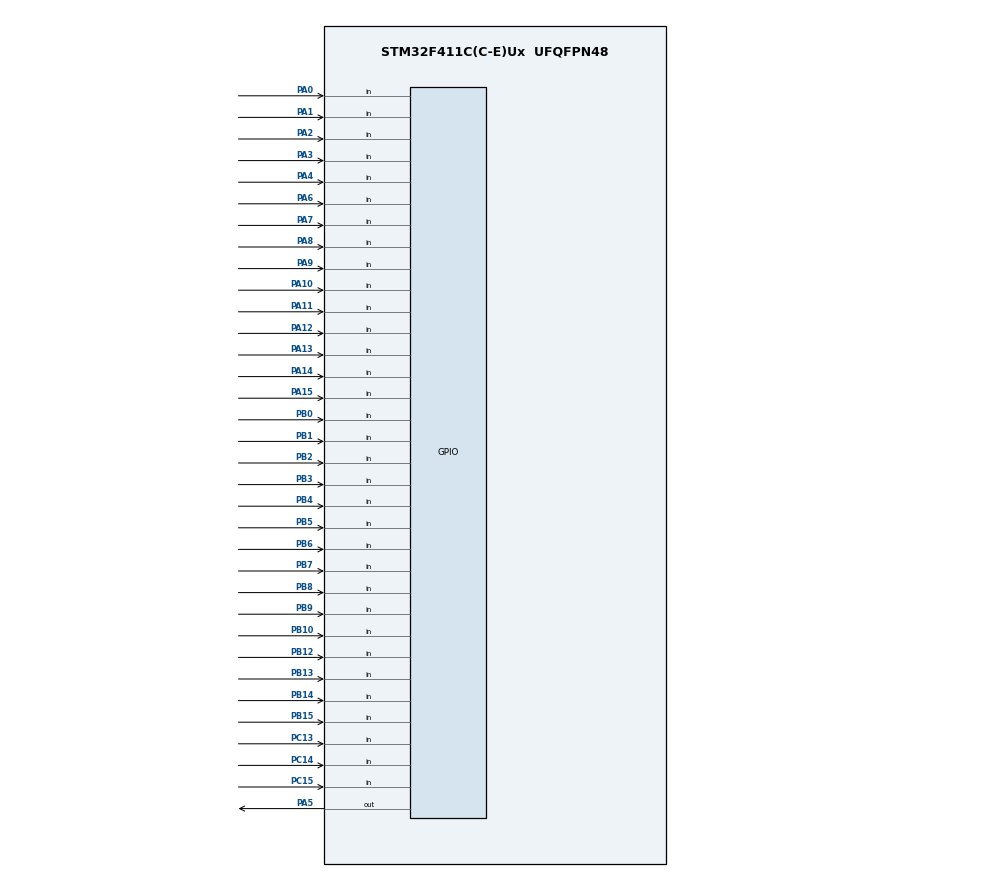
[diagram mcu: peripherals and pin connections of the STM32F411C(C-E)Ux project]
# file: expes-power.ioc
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Mcu.Family=STM32F4
Mcu.Name=STM32F411C(C-E)Ux
Mcu.Package=UFQFPN48
NVIC.PriorityGroup=NVIC_PRIORITYGROUP_4
PA0-WKUP.Signal=GPIO_Input
PA1.Signal=GPIO_Input
PA10.Signal=GPIO_Input
PA11.Signal=GPIO_Input
PA12.Signal=GPIO_Input
PA13.Signal=GPIO_Input
PA14.Signal=GPIO_Input
PA15.Signal=GPIO_Input
PA2.Signal=GPIO_Input
PA3.Signal=GPIO_Input
PA4.Signal=GPIO_Input
PA5.Signal=GPIO_Output
PA6.Signal=GPIO_Input
PA7.Signal=GPIO_Input
PA8.Signal=GPIO_Input
PA9.Signal=GPIO_Input
PB0.Signal=GPIO_Input
PB1.Signal=GPIO_Input
PB10.Signal=GPIO_Input
PB12.Signal=GPIO_Input
PB13.Signal=GPIO_Input
PB14.Signal=GPIO_Input
PB15.Signal=GPIO_Input
PB2.Signal=GPIO_Input
PB3.Signal=GPIO_Input
PB4.Signal=GPIO_Input
PB5.Signal=GPIO_Input
PB6.Signal=GPIO_Input
PB7.Signal=GPIO_Input
PB8.Signal=GPIO_Input
PB9.Signal=GPIO_Input
PC13-ANTI_TAMP.Signal=GPIO_Input
PC14-OSC32_IN.Signal=GPIO_Input
PC15-OSC32_OUT.Signal=GPIO_Input
PH0\ -\ OSC_IN.Mode=HSE-External-Oscillator
PH0\ -\ OSC_IN.Signal=RCC_OSC_IN
PH1\ -\ OSC_OUT.Mode=HSE-External-Oscillator
PH1\ -\ OSC_OUT.Signal=RCC_OSC_OUT
ProjectManager.HeapSize=0x200
ProjectManager.StackSize=0x400
ProjectManager.TargetToolchain=STM32CubeIDE
RCC.48MHZClocksFreq_Value=32000000
RCC.AHBCLKDivider=RCC_SYSCLK_DIV64
RCC.AHBFreq_Value=1000000
RCC.APB1CLKDivider=RCC_HCLK_DIV2
RCC.APB1Freq_Value=500000
RCC.APB1TimFreq_Value=1000000
RCC.APB2Freq_Value=1000000
RCC.APB2TimFreq_Value=1000000
RCC.CortexFreq_Value=1000000
RCC.HCLKFreq_Value=1000000
RCC.HSE_VALUE=25000000
RCC.HSI_VALUE=16000000
RCC.LSE_VALUE=32768
RCC.PLLM=8
RCC.PLLN=64
RCC.SYSCLKFreq_VALUE=64000000
RCC.SYSCLKSource=RCC_SYSCLKSOURCE_PLLCLK
RCC.VCOOutputFreq_Value=128000000
board=custom

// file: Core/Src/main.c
/* USER CODE BEGIN Header */
/**
  ******************************************************************************
  * @file           : main.c
  * @brief          : Main program body
  ******************************************************************************
  * @attention
  *
  * Copyright (c) 2026 STMicroelectronics.
  * All rights reserved.
  *
  * This software is licensed under terms that can be found in the LICENSE file
  * in the root directory of this software component.
  * If no LICENSE file comes with this software, it is provided AS-IS.
  *
  ******************************************************************************
  */
/* USER CODE END Header */
#include "main.h"
#include "stm32f4xx_hal.h"

/* USER CODE BEGIN Includes */
#include <stdint.h>
#include <stdlib.h>
#include <stdio.h>

// Benchmark sizes
#define BENCH_PRIME_SIZE 5000
#define BENCH_MAT_SIZE 10500
#define NB_ITERATIONS_MAT_MUL 10

// Benchmark correct results
#define CORRECT_PRIME 669
#define CORRECT_MAT_MUL 1073741824
#define CORRECT_MAT_MUL_FLOAT_UPPER 0.525
#define CORRECT_MAT_MUL_FLOAT_LOWER 0.524

/* USER CODE END Includes */

void SystemClock_Config(void);
static void MX_GPIO_Init_pull_downs(void);

/* USER CODE BEGIN 0 */
void SystemClock_Config_HSI_16MHz(void)
{
  RCC_OscInitTypeDef RCC_OscInitStruct = {0};
  RCC_ClkInitTypeDef RCC_ClkInitStruct = {0};

  /** Configure the main internal regulator output voltage
  */
  __HAL_RCC_PWR_CLK_ENABLE();
  RCC_ClkInitStruct.ClockType = RCC_CLOCKTYPE_HCLK|RCC_CLOCKTYPE_SYSCLK
                              |RCC_CLOCKTYPE_PCLK1|RCC_CLOCKTYPE_PCLK2;
  RCC_ClkInitStruct.SYSCLKSource = RCC_SYSCLKSOURCE_HSI;
  if (HAL_RCC_ClockConfig(&RCC_ClkInitStruct, FLASH_LATENCY_0) != HAL_OK)
  {
    Error_Handler();
  }

  RCC_OscInitStruct.PLL.PLLState = RCC_PLL_OFF;
  if (HAL_RCC_OscConfig(&RCC_OscInitStruct) != HAL_OK)
  {
    Error_Handler();
  }
  __HAL_PWR_VOLTAGESCALING_CONFIG(PWR_REGULATOR_VOLTAGE_SCALE1);

  /** Initializes the RCC Oscillators according to the specified parameters
  * in the RCC_OscInitTypeDef structure.
  */
  RCC_OscInitStruct.OscillatorType = RCC_OSCILLATORTYPE_HSI;
  RCC_OscInitStruct.HSIState = RCC_HSI_ON;
  RCC_OscInitStruct.HSICalibrationValue = RCC_HSICALIBRATION_DEFAULT;
  RCC_OscInitStruct.PLL.PLLState = RCC_PLL_NONE;
  if (HAL_RCC_OscConfig(&RCC_OscInitStruct) != HAL_OK)
  {
    Error_Handler();
  }

  /** Initializes the CPU, AHB and APB buses clocks
  */
  RCC_ClkInitStruct.ClockType = RCC_CLOCKTYPE_HCLK|RCC_CLOCKTYPE_SYSCLK
                              |RCC_CLOCKTYPE_PCLK1|RCC_CLOCKTYPE_PCLK2;
  RCC_ClkInitStruct.SYSCLKSource = RCC_SYSCLKSOURCE_HSI;
  RCC_ClkInitStruct.AHBCLKDivider = RCC_SYSCLK_DIV1;
  RCC_ClkInitStruct.APB1CLKDivider = RCC_HCLK_DIV2;
  RCC_ClkInitStruct.APB2CLKDivider = RCC_HCLK_DIV1;

  if (HAL_RCC_ClockConfig(&RCC_ClkInitStruct, FLASH_LATENCY_0) != HAL_OK)
  {
    Error_Handler();
  }
}

void SystemClock_Config_HSE_25MHz(void)
{
  RCC_OscInitTypeDef RCC_OscInitStruct = {0};
  RCC_ClkInitTypeDef RCC_ClkInitStruct = {0};

  /** Configure the main internal regulator output voltage
  */
  __HAL_RCC_PWR_CLK_ENABLE();
  __HAL_PWR_VOLTAGESCALING_CONFIG(PWR_REGULATOR_VOLTAGE_SCALE1);

  /** Initializes the RCC Oscillators according to the specified parameters
  * in the RCC_OscInitTypeDef structure.
  */
  RCC_OscInitStruct.OscillatorType = RCC_OSCILLATORTYPE_HSE;
  RCC_OscInitStruct.HSEState = RCC_HSE_ON;
  RCC_OscInitStruct.PLL.PLLState = RCC_PLL_NONE;
  if (HAL_RCC_OscConfig(&RCC_OscInitStruct) != HAL_OK)
  {
    Error_Handler();
  }

  /** Initializes the CPU, AHB and APB buses clocks
  */
  RCC_ClkInitStruct.ClockType = RCC_CLOCKTYPE_HCLK|RCC_CLOCKTYPE_SYSCLK
                              |RCC_CLOCKTYPE_PCLK1|RCC_CLOCKTYPE_PCLK2;
  RCC_ClkInitStruct.SYSCLKSource = RCC_SYSCLKSOURCE_HSE;
  RCC_ClkInitStruct.AHBCLKDivider = RCC_SYSCLK_DIV1;
  RCC_ClkInitStruct.APB1CLKDivider = RCC_HCLK_DIV2;
  RCC_ClkInitStruct.APB2CLKDivider = RCC_HCLK_DIV1;

  if (HAL_RCC_ClockConfig(&RCC_ClkInitStruct, FLASH_LATENCY_0) != HAL_OK)
  {
    Error_Handler();
  }
}

void SystemClock_Config_PLL_64MHz_default(void)
{
  RCC_OscInitTypeDef RCC_OscInitStruct = {0};
  RCC_ClkInitTypeDef RCC_ClkInitStruct = {0};

  /** Configure the main internal regulator output voltage
  */
  __HAL_RCC_PWR_CLK_ENABLE();
  RCC_ClkInitStruct.ClockType = RCC_CLOCKTYPE_HCLK|RCC_CLOCKTYPE_SYSCLK
                              |RCC_CLOCKTYPE_PCLK1|RCC_CLOCKTYPE_PCLK2;
  RCC_ClkInitStruct.SYSCLKSource = RCC_SYSCLKSOURCE_HSI;
  if (HAL_RCC_ClockConfig(&RCC_ClkInitStruct, FLASH_LATENCY_2) != HAL_OK)
  {
    Error_Handler();
  }

  RCC_OscInitStruct.PLL.PLLState = RCC_PLL_OFF;
  if (HAL_RCC_OscConfig(&RCC_OscInitStruct) != HAL_OK)
  {
    Error_Handler();
  }
  __HAL_PWR_VOLTAGESCALING_CONFIG(PWR_REGULATOR_VOLTAGE_SCALE1);

  /** Initializes the RCC Oscillators according to the specified parameters
  * in the RCC_OscInitTypeDef structure.
  */
  RCC_OscInitStruct.OscillatorType = RCC_OSCILLATORTYPE_HSI;
  RCC_OscInitStruct.HSIState = RCC_HSI_ON;
  RCC_OscInitStruct.HSICalibrationValue = RCC_HSICALIBRATION_DEFAULT;
  RCC_OscInitStruct.PLL.PLLState = RCC_PLL_ON;
  RCC_OscInitStruct.PLL.PLLSource = RCC_PLLSOURCE_HSI;
  RCC_OscInitStruct.PLL.PLLM = 8;
  RCC_OscInitStruct.PLL.PLLN = 64;
  RCC_OscInitStruct.PLL.PLLP = RCC_PLLP_DIV2;
  RCC_OscInitStruct.PLL.PLLQ = 4;
  if (HAL_RCC_OscConfig(&RCC_OscInitStruct) != HAL_OK)
  {
    Error_Handler();
  }

  /** Initializes the CPU, AHB and APB buses clocks
  */
  RCC_ClkInitStruct.ClockType = RCC_CLOCKTYPE_HCLK|RCC_CLOCKTYPE_SYSCLK
                              |RCC_CLOCKTYPE_PCLK1|RCC_CLOCKTYPE_PCLK2;
  RCC_ClkInitStruct.SYSCLKSource = RCC_SYSCLKSOURCE_PLLCLK;
  RCC_ClkInitStruct.AHBCLKDivider = RCC_SYSCLK_DIV1;
  RCC_ClkInitStruct.APB1CLKDivider = RCC_HCLK_DIV2;
  RCC_ClkInitStruct.APB2CLKDivider = RCC_HCLK_DIV1;

  if (HAL_RCC_ClockConfig(&RCC_ClkInitStruct, FLASH_LATENCY_1) != HAL_OK)
  {
    Error_Handler();
  }
}

void SystemClock_Config_HSI_31250Hz(void)
{
  RCC_OscInitTypeDef RCC_OscInitStruct = {0};
  RCC_ClkInitTypeDef RCC_ClkInitStruct = {0};

  /** Configure the main internal regulator output voltage
  */
  __HAL_RCC_PWR_CLK_ENABLE();
  RCC_ClkInitStruct.ClockType = RCC_CLOCKTYPE_HCLK|RCC_CLOCKTYPE_SYSCLK
                              |RCC_CLOCKTYPE_PCLK1|RCC_CLOCKTYPE_PCLK2;
  RCC_ClkInitStruct.SYSCLKSource = RCC_SYSCLKSOURCE_HSI;
  if (HAL_RCC_ClockConfig(&RCC_ClkInitStruct, FLASH_LATENCY_0) != HAL_OK)
  {
    Error_Handler();
  }

  RCC_OscInitStruct.PLL.PLLState = RCC_PLL_OFF;
  if (HAL_RCC_OscConfig(&RCC_OscInitStruct) != HAL_OK)
  {
    Error_Handler();
  }
  __HAL_PWR_VOLTAGESCALING_CONFIG(PWR_REGULATOR_VOLTAGE_SCALE1);

  /** Initializes the RCC Oscillators according to the specified parameters
  * in the RCC_OscInitTypeDef structure.
  */
  RCC_OscInitStruct.OscillatorType = RCC_OSCILLATORTYPE_HSI;
  RCC_OscInitStruct.HSIState = RCC_HSI_ON;
  RCC_OscInitStruct.HSICalibrationValue = RCC_HSICALIBRATION_DEFAULT;
  RCC_OscInitStruct.PLL.PLLState = RCC_PLL_NONE;
  if (HAL_RCC_OscConfig(&RCC_OscInitStruct) != HAL_OK)
  {
    Error_Handler();
  }

  /** Initializes the CPU, AHB and APB buses clocks
  */
  RCC_ClkInitStruct.ClockType = RCC_CLOCKTYPE_HCLK|RCC_CLOCKTYPE_SYSCLK
                              |RCC_CLOCKTYPE_PCLK1|RCC_CLOCKTYPE_PCLK2;
  RCC_ClkInitStruct.SYSCLKSource = RCC_SYSCLKSOURCE_HSI;
  RCC_ClkInitStruct.AHBCLKDivider = RCC_SYSCLK_DIV512;
  RCC_ClkInitStruct.APB1CLKDivider = RCC_HCLK_DIV2;
  RCC_ClkInitStruct.APB2CLKDivider = RCC_HCLK_DIV1;

  if (HAL_RCC_ClockConfig(&RCC_ClkInitStruct, FLASH_LATENCY_0) != HAL_OK)
  {
    Error_Handler();
  }
}

void SystemClock_Config_PLL_46875Hz_default(void)
{
  RCC_OscInitTypeDef RCC_OscInitStruct = {0};
  RCC_ClkInitTypeDef RCC_ClkInitStruct = {0};

  /** Configure the main internal regulator output voltage
  */
  __HAL_RCC_PWR_CLK_ENABLE();
  RCC_ClkInitStruct.ClockType = RCC_CLOCKTYPE_HCLK|RCC_CLOCKTYPE_SYSCLK
                              |RCC_CLOCKTYPE_PCLK1|RCC_CLOCKTYPE_PCLK2;
  RCC_ClkInitStruct.SYSCLKSource = RCC_SYSCLKSOURCE_HSI;
  if (HAL_RCC_ClockConfig(&RCC_ClkInitStruct, FLASH_LATENCY_0) != HAL_OK)
  {
    Error_Handler();
  }

  RCC_OscInitStruct.PLL.PLLState = RCC_PLL_OFF;
  if (HAL_RCC_OscConfig(&RCC_OscInitStruct) != HAL_OK)
  {
    Error_Handler();
  }
  __HAL_PWR_VOLTAGESCALING_CONFIG(PWR_REGULATOR_VOLTAGE_SCALE1);

  /** Initializes the RCC Oscillators according to the specified parameters
  * in the RCC_OscInitTypeDef structure.
  */
  RCC_OscInitStruct.OscillatorType = RCC_OSCILLATORTYPE_HSI;
  RCC_OscInitStruct.HSIState = RCC_HSI_ON;
  RCC_OscInitStruct.HSICalibrationValue = RCC_HSICALIBRATION_DEFAULT;
  RCC_OscInitStruct.PLL.PLLState = RCC_PLL_ON;
  RCC_OscInitStruct.PLL.PLLSource = RCC_PLLSOURCE_HSI;
  RCC_OscInitStruct.PLL.PLLM = 8;
  RCC_OscInitStruct.PLL.PLLN = 72;
  RCC_OscInitStruct.PLL.PLLP = RCC_PLLP_DIV6;
  RCC_OscInitStruct.PLL.PLLQ = 4;
  if (HAL_RCC_OscConfig(&RCC_OscInitStruct) != HAL_OK)
  {
    Error_Handler();
  }

  /** Initializes the CPU, AHB and APB buses clocks
  */
  RCC_ClkInitStruct.ClockType = RCC_CLOCKTYPE_HCLK|RCC_CLOCKTYPE_SYSCLK
                              |RCC_CLOCKTYPE_PCLK1|RCC_CLOCKTYPE_PCLK2;
  RCC_ClkInitStruct.SYSCLKSource = RCC_SYSCLKSOURCE_PLLCLK;
  RCC_ClkInitStruct.AHBCLKDivider = RCC_SYSCLK_DIV512;
  RCC_ClkInitStruct.APB1CLKDivider = RCC_HCLK_DIV2;
  RCC_ClkInitStruct.APB2CLKDivider = RCC_HCLK_DIV1;

  if (HAL_RCC_ClockConfig(&RCC_ClkInitStruct, FLASH_LATENCY_0) != HAL_OK)
  {
    Error_Handler();
  }
}

void SystemClock_Config_HSI_1MHz(void)
{
  RCC_OscInitTypeDef RCC_OscInitStruct = {0};
  RCC_ClkInitTypeDef RCC_ClkInitStruct = {0};

  /** Configure the main internal regulator output voltage
  */
  __HAL_RCC_PWR_CLK_ENABLE();
  RCC_ClkInitStruct.ClockType = RCC_CLOCKTYPE_HCLK|RCC_CLOCKTYPE_SYSCLK
                              |RCC_CLOCKTYPE_PCLK1|RCC_CLOCKTYPE_PCLK2;
  RCC_ClkInitStruct.SYSCLKSource = RCC_SYSCLKSOURCE_HSI;
  if (HAL_RCC_ClockConfig(&RCC_ClkInitStruct, FLASH_LATENCY_0) != HAL_OK)
  {
    Error_Handler();
  }

  RCC_OscInitStruct.PLL.PLLState = RCC_PLL_OFF;
  if (HAL_RCC_OscConfig(&RCC_OscInitStruct) != HAL_OK)
  {
    Error_Handler();
  }
  __HAL_PWR_VOLTAGESCALING_CONFIG(PWR_REGULATOR_VOLTAGE_SCALE1);

  /** Initializes the RCC Oscillators according to the specified parameters
  * in the RCC_OscInitTypeDef structure.
  */
  RCC_OscInitStruct.OscillatorType = RCC_OSCILLATORTYPE_HSI;
  RCC_OscInitStruct.HSIState = RCC_HSI_ON;
  RCC_OscInitStruct.HSICalibrationValue = RCC_HSICALIBRATION_DEFAULT;
  RCC_OscInitStruct.PLL.PLLState = RCC_PLL_NONE;
  if (HAL_RCC_OscConfig(&RCC_OscInitStruct) != HAL_OK)
  {
    Error_Handler();
  }

  /** Initializes the CPU, AHB and APB buses clocks
  */
  RCC_ClkInitStruct.ClockType = RCC_CLOCKTYPE_HCLK|RCC_CLOCKTYPE_SYSCLK
                              |RCC_CLOCKTYPE_PCLK1|RCC_CLOCKTYPE_PCLK2;
  RCC_ClkInitStruct.SYSCLKSource = RCC_SYSCLKSOURCE_HSI;
  RCC_ClkInitStruct.AHBCLKDivider = RCC_SYSCLK_DIV16;
  RCC_ClkInitStruct.APB1CLKDivider = RCC_HCLK_DIV2;
  RCC_ClkInitStruct.APB2CLKDivider = RCC_HCLK_DIV1;

  if (HAL_RCC_ClockConfig(&RCC_ClkInitStruct, FLASH_LATENCY_0) != HAL_OK)
  {
    Error_Handler();
  }
}

void SystemClock_Config_HSE_156250000Hz(void)
{
  RCC_OscInitTypeDef RCC_OscInitStruct = {0};
  RCC_ClkInitTypeDef RCC_ClkInitStruct = {0};

  /** Configure the main internal regulator output voltage
  */
  __HAL_RCC_PWR_CLK_ENABLE();
  __HAL_PWR_VOLTAGESCALING_CONFIG(PWR_REGULATOR_VOLTAGE_SCALE1);

  /** Initializes the RCC Oscillators according to the specified parameters
  * in the RCC_OscInitTypeDef structure.
  */
  RCC_OscInitStruct.OscillatorType = RCC_OSCILLATORTYPE_HSE;
  RCC_OscInitStruct.HSEState = RCC_HSE_ON;
  RCC_OscInitStruct.PLL.PLLState = RCC_PLL_NONE;
  if (HAL_RCC_OscConfig(&RCC_OscInitStruct) != HAL_OK)
  {
    Error_Handler();
  }

  /** Initializes the CPU, AHB and APB buses clocks
  */
  RCC_ClkInitStruct.ClockType = RCC_CLOCKTYPE_HCLK|RCC_CLOCKTYPE_SYSCLK
                              |RCC_CLOCKTYPE_PCLK1|RCC_CLOCKTYPE_PCLK2;
  RCC_ClkInitStruct.SYSCLKSource = RCC_SYSCLKSOURCE_HSE;
  RCC_ClkInitStruct.AHBCLKDivider = RCC_SYSCLK_DIV16;
  RCC_ClkInitStruct.APB1CLKDivider = RCC_HCLK_DIV2;
  RCC_ClkInitStruct.APB2CLKDivider = RCC_HCLK_DIV1;

  if (HAL_RCC_ClockConfig(&RCC_ClkInitStruct, FLASH_LATENCY_0) != HAL_OK)
  {
    Error_Handler();
  }
}

void SystemClock_Config_PLL_20MHz_default(void)
{
  RCC_OscInitTypeDef RCC_OscInitStruct = {0};
  RCC_ClkInitTypeDef RCC_ClkInitStruct = {0};

  /** Configure the main internal regulator output voltage
  */
  __HAL_RCC_PWR_CLK_ENABLE();
  RCC_ClkInitStruct.ClockType = RCC_CLOCKTYPE_HCLK|RCC_CLOCKTYPE_SYSCLK
                              |RCC_CLOCKTYPE_PCLK1|RCC_CLOCKTYPE_PCLK2;
  RCC_ClkInitStruct.SYSCLKSource = RCC_SYSCLKSOURCE_HSI;
  if (HAL_RCC_ClockConfig(&RCC_ClkInitStruct, FLASH_LATENCY_2) != HAL_OK)
  {
    Error_Handler();
  }

  RCC_OscInitStruct.PLL.PLLState = RCC_PLL_OFF;
  if (HAL_RCC_OscConfig(&RCC_OscInitStruct) != HAL_OK)
  {
    Error_Handler();
  }
  __HAL_PWR_VOLTAGESCALING_CONFIG(PWR_REGULATOR_VOLTAGE_SCALE1);

  /** Initializes the RCC Oscillators according to the specified parameters
  * in the RCC_OscInitTypeDef structure.
  */
  RCC_OscInitStruct.OscillatorType = RCC_OSCILLATORTYPE_HSI;
  RCC_OscInitStruct.HSIState = RCC_HSI_ON;
  RCC_OscInitStruct.HSICalibrationValue = RCC_HSICALIBRATION_DEFAULT;
  RCC_OscInitStruct.PLL.PLLState = RCC_PLL_ON;
  RCC_OscInitStruct.PLL.PLLSource = RCC_PLLSOURCE_HSI;
  RCC_OscInitStruct.PLL.PLLM = 8;
  RCC_OscInitStruct.PLL.PLLN = 80;
  RCC_OscInitStruct.PLL.PLLP = RCC_PLLP_DIV2;
  RCC_OscInitStruct.PLL.PLLQ = 4;
  if (HAL_RCC_OscConfig(&RCC_OscInitStruct) != HAL_OK)
  {
    Error_Handler();
  }

  /** Initializes the CPU, AHB and APB buses clocks
  */
  RCC_ClkInitStruct.ClockType = RCC_CLOCKTYPE_HCLK|RCC_CLOCKTYPE_SYSCLK
                              |RCC_CLOCKTYPE_PCLK1|RCC_CLOCKTYPE_PCLK2;
  RCC_ClkInitStruct.SYSCLKSource = RCC_SYSCLKSOURCE_PLLCLK;
  RCC_ClkInitStruct.AHBCLKDivider = RCC_SYSCLK_DIV4;
  RCC_ClkInitStruct.APB1CLKDivider = RCC_HCLK_DIV2;
  RCC_ClkInitStruct.APB2CLKDivider = RCC_HCLK_DIV1;

  if (HAL_RCC_ClockConfig(&RCC_ClkInitStruct, FLASH_LATENCY_0) != HAL_OK)
  {
    Error_Handler();
  }
}

void SystemClock_Config_PLL_64MHz_minvreg(void)
{
  RCC_OscInitTypeDef RCC_OscInitStruct = {0};
  RCC_ClkInitTypeDef RCC_ClkInitStruct = {0};

  /** Configure the main internal regulator output voltage
  */
  __HAL_RCC_PWR_CLK_ENABLE();
  RCC_ClkInitStruct.ClockType = RCC_CLOCKTYPE_HCLK|RCC_CLOCKTYPE_SYSCLK
                              |RCC_CLOCKTYPE_PCLK1|RCC_CLOCKTYPE_PCLK2;
  RCC_ClkInitStruct.SYSCLKSource = RCC_SYSCLKSOURCE_HSI;
  if (HAL_RCC_ClockConfig(&RCC_ClkInitStruct, FLASH_LATENCY_1) != HAL_OK)
  {
    Error_Handler();
  }

  RCC_OscInitStruct.PLL.PLLState = RCC_PLL_OFF;
  if (HAL_RCC_OscConfig(&RCC_OscInitStruct) != HAL_OK)
  {
    Error_Handler();
  }
  __HAL_PWR_VOLTAGESCALING_CONFIG(PWR_REGULATOR_VOLTAGE_SCALE3);

  /** Initializes the RCC Oscillators according to the specified parameters
  * in the RCC_OscInitTypeDef structure.
  */
  RCC_OscInitStruct.OscillatorType = RCC_OSCILLATORTYPE_HSI;
  RCC_OscInitStruct.HSIState = RCC_HSI_ON;
  RCC_OscInitStruct.HSICalibrationValue = RCC_HSICALIBRATION_DEFAULT;
  RCC_OscInitStruct.PLL.PLLState = RCC_PLL_ON;
  RCC_OscInitStruct.PLL.PLLSource = RCC_PLLSOURCE_HSI;
  RCC_OscInitStruct.PLL.PLLM = 8;
  RCC_OscInitStruct.PLL.PLLN = 64;
  RCC_OscInitStruct.PLL.PLLP = RCC_PLLP_DIV2;
  RCC_OscInitStruct.PLL.PLLQ = 4;
  if (HAL_RCC_OscConfig(&RCC_OscInitStruct) != HAL_OK)
  {
    Error_Handler();
  }

  /** Initializes the CPU, AHB and APB buses clocks
  */
  RCC_ClkInitStruct.ClockType = RCC_CLOCKTYPE_HCLK|RCC_CLOCKTYPE_SYSCLK
                              |RCC_CLOCKTYPE_PCLK1|RCC_CLOCKTYPE_PCLK2;
  RCC_ClkInitStruct.SYSCLKSource = RCC_SYSCLKSOURCE_PLLCLK;
  RCC_ClkInitStruct.AHBCLKDivider = RCC_SYSCLK_DIV1;
  RCC_ClkInitStruct.APB1CLKDivider = RCC_HCLK_DIV2;
  RCC_ClkInitStruct.APB2CLKDivider = RCC_HCLK_DIV1;

  if (HAL_RCC_ClockConfig(&RCC_ClkInitStruct, FLASH_LATENCY_1) != HAL_OK)
  {
    Error_Handler();
  }
}

void SystemClock_Config_PLL_46875Hz_minvreg(void)
{
  RCC_OscInitTypeDef RCC_OscInitStruct = {0};
  RCC_ClkInitTypeDef RCC_ClkInitStruct = {0};

  /** Configure the main internal regulator output voltage
  */
  __HAL_RCC_PWR_CLK_ENABLE();
  RCC_ClkInitStruct.ClockType = RCC_CLOCKTYPE_HCLK|RCC_CLOCKTYPE_SYSCLK
                              |RCC_CLOCKTYPE_PCLK1|RCC_CLOCKTYPE_PCLK2;
  RCC_ClkInitStruct.SYSCLKSource = RCC_SYSCLKSOURCE_HSI;
  if (HAL_RCC_ClockConfig(&RCC_ClkInitStruct, FLASH_LATENCY_0) != HAL_OK)
  {
    Error_Handler();
  }

  RCC_OscInitStruct.PLL.PLLState = RCC_PLL_OFF;
  if (HAL_RCC_OscConfig(&RCC_OscInitStruct) != HAL_OK)
  {
    Error_Handler();
  }
  __HAL_PWR_VOLTAGESCALING_CONFIG(PWR_REGULATOR_VOLTAGE_SCALE3);

  /** Initializes the RCC Oscillators according to the specified parameters
  * in the RCC_OscInitTypeDef structure.
  */
  RCC_OscInitStruct.OscillatorType = RCC_OSCILLATORTYPE_HSI;
  RCC_OscInitStruct.HSIState = RCC_HSI_ON;
  RCC_OscInitStruct.HSICalibrationValue = RCC_HSICALIBRATION_DEFAULT;
  RCC_OscInitStruct.PLL.PLLState = RCC_PLL_ON;
  RCC_OscInitStruct.PLL.PLLSource = RCC_PLLSOURCE_HSI;
  RCC_OscInitStruct.PLL.PLLM = 8;
  RCC_OscInitStruct.PLL.PLLN = 72;
  RCC_OscInitStruct.PLL.PLLP = RCC_PLLP_DIV6;
  RCC_OscInitStruct.PLL.PLLQ = 4;
  if (HAL_RCC_OscConfig(&RCC_OscInitStruct) != HAL_OK)
  {
    Error_Handler();
  }

  /** Initializes the CPU, AHB and APB buses clocks
  */
  RCC_ClkInitStruct.ClockType = RCC_CLOCKTYPE_HCLK|RCC_CLOCKTYPE_SYSCLK
                              |RCC_CLOCKTYPE_PCLK1|RCC_CLOCKTYPE_PCLK2;
  RCC_ClkInitStruct.SYSCLKSource = RCC_SYSCLKSOURCE_PLLCLK;
  RCC_ClkInitStruct.AHBCLKDivider = RCC_SYSCLK_DIV512;
  RCC_ClkInitStruct.APB1CLKDivider = RCC_HCLK_DIV2;
  RCC_ClkInitStruct.APB2CLKDivider = RCC_HCLK_DIV1;

  if (HAL_RCC_ClockConfig(&RCC_ClkInitStruct, FLASH_LATENCY_0) != HAL_OK)
  {
    Error_Handler();
  }
}

void SystemClock_Config_PLL_20MHz_minvreg(void)
{
  RCC_OscInitTypeDef RCC_OscInitStruct = {0};
  RCC_ClkInitTypeDef RCC_ClkInitStruct = {0};

  /** Configure the main internal regulator output voltage
  */
  __HAL_RCC_PWR_CLK_ENABLE();
  RCC_ClkInitStruct.ClockType = RCC_CLOCKTYPE_HCLK|RCC_CLOCKTYPE_SYSCLK
                              |RCC_CLOCKTYPE_PCLK1|RCC_CLOCKTYPE_PCLK2;
  RCC_ClkInitStruct.SYSCLKSource = RCC_SYSCLKSOURCE_HSI;
  if (HAL_RCC_ClockConfig(&RCC_ClkInitStruct, FLASH_LATENCY_0) != HAL_OK)
  {
    Error_Handler();
  }

  RCC_OscInitStruct.PLL.PLLState = RCC_PLL_OFF;
  if (HAL_RCC_OscConfig(&RCC_OscInitStruct) != HAL_OK)
  {
    Error_Handler();
  }
  __HAL_PWR_VOLTAGESCALING_CONFIG(PWR_REGULATOR_VOLTAGE_SCALE3);

  /** Initializes the RCC Oscillators according to the specified parameters
  * in the RCC_OscInitTypeDef structure.
  */
  RCC_OscInitStruct.OscillatorType = RCC_OSCILLATORTYPE_HSI;
  RCC_OscInitStruct.HSIState = RCC_HSI_ON;
  RCC_OscInitStruct.HSICalibrationValue = RCC_HSICALIBRATION_DEFAULT;
  RCC_OscInitStruct.PLL.PLLState = RCC_PLL_ON;
  RCC_OscInitStruct.PLL.PLLSource = RCC_PLLSOURCE_HSI;
  RCC_OscInitStruct.PLL.PLLM = 8;
  RCC_OscInitStruct.PLL.PLLN = 80;
  RCC_OscInitStruct.PLL.PLLP = RCC_PLLP_DIV2;
  RCC_OscInitStruct.PLL.PLLQ = 4;
  if (HAL_RCC_OscConfig(&RCC_OscInitStruct) != HAL_OK)
  {
    Error_Handler();
  }

  /** Initializes the CPU, AHB and APB buses clocks
  */
  RCC_ClkInitStruct.ClockType = RCC_CLOCKTYPE_HCLK|RCC_CLOCKTYPE_SYSCLK
                              |RCC_CLOCKTYPE_PCLK1|RCC_CLOCKTYPE_PCLK2;
  RCC_ClkInitStruct.SYSCLKSource = RCC_SYSCLKSOURCE_PLLCLK;
  RCC_ClkInitStruct.AHBCLKDivider = RCC_SYSCLK_DIV4;
  RCC_ClkInitStruct.APB1CLKDivider = RCC_HCLK_DIV2;
  RCC_ClkInitStruct.APB2CLKDivider = RCC_HCLK_DIV1;

  if (HAL_RCC_ClockConfig(&RCC_ClkInitStruct, FLASH_LATENCY_0) != HAL_OK)
  {
    Error_Handler();
  }
}

void SystemClock_Config_PLL_1MHz(void)
{
  RCC_OscInitTypeDef RCC_OscInitStruct = {0};
  RCC_ClkInitTypeDef RCC_ClkInitStruct = {0};

  /** Configure the main internal regulator output voltage
  */
  __HAL_RCC_PWR_CLK_ENABLE();
  RCC_ClkInitStruct.ClockType = RCC_CLOCKTYPE_HCLK|RCC_CLOCKTYPE_SYSCLK
                              |RCC_CLOCKTYPE_PCLK1|RCC_CLOCKTYPE_PCLK2;
  RCC_ClkInitStruct.SYSCLKSource = RCC_SYSCLKSOURCE_HSI;
  if (HAL_RCC_ClockConfig(&RCC_ClkInitStruct, FLASH_LATENCY_0) != HAL_OK)
  {
    Error_Handler();
  }

  RCC_OscInitStruct.PLL.PLLState = RCC_PLL_OFF;
  if (HAL_RCC_OscConfig(&RCC_OscInitStruct) != HAL_OK)
  {
    Error_Handler();
  }
  __HAL_PWR_VOLTAGESCALING_CONFIG(PWR_REGULATOR_VOLTAGE_SCALE1);

  /** Initializes the RCC Oscillators according to the specified parameters
  * in the RCC_OscInitTypeDef structure.
  */
  RCC_OscInitStruct.OscillatorType = RCC_OSCILLATORTYPE_HSI;
  RCC_OscInitStruct.HSIState = RCC_HSI_ON;
  RCC_OscInitStruct.HSICalibrationValue = RCC_HSICALIBRATION_DEFAULT;
  RCC_OscInitStruct.PLL.PLLState = RCC_PLL_ON;
  RCC_OscInitStruct.PLL.PLLSource = RCC_PLLSOURCE_HSI;
  RCC_OscInitStruct.PLL.PLLM = 8;
  RCC_OscInitStruct.PLL.PLLN = 64;
  RCC_OscInitStruct.PLL.PLLP = RCC_PLLP_DIV2;
  RCC_OscInitStruct.PLL.PLLQ = 4;
  if (HAL_RCC_OscConfig(&RCC_OscInitStruct) != HAL_OK)
  {
    Error_Handler();
  }

  /** Initializes the CPU, AHB and APB buses clocks
  */
  RCC_ClkInitStruct.ClockType = RCC_CLOCKTYPE_HCLK|RCC_CLOCKTYPE_SYSCLK
                              |RCC_CLOCKTYPE_PCLK1|RCC_CLOCKTYPE_PCLK2;
  RCC_ClkInitStruct.SYSCLKSource = RCC_SYSCLKSOURCE_PLLCLK;
  RCC_ClkInitStruct.AHBCLKDivider = RCC_SYSCLK_DIV64;
  RCC_ClkInitStruct.APB1CLKDivider = RCC_HCLK_DIV2;
  RCC_ClkInitStruct.APB2CLKDivider = RCC_HCLK_DIV1;

  if (HAL_RCC_ClockConfig(&RCC_ClkInitStruct, FLASH_LATENCY_0) != HAL_OK)
  {
    Error_Handler();
  }
}

void SystemClock_Config_PLL_1MHz_minvreg(void)
{
  RCC_OscInitTypeDef RCC_OscInitStruct = {0};
  RCC_ClkInitTypeDef RCC_ClkInitStruct = {0};

  /** Configure the main internal regulator output voltage
  */
  __HAL_RCC_PWR_CLK_ENABLE();
  RCC_ClkInitStruct.ClockType = RCC_CLOCKTYPE_HCLK|RCC_CLOCKTYPE_SYSCLK
                              |RCC_CLOCKTYPE_PCLK1|RCC_CLOCKTYPE_PCLK2;
  RCC_ClkInitStruct.SYSCLKSource = RCC_SYSCLKSOURCE_HSI;
  if (HAL_RCC_ClockConfig(&RCC_ClkInitStruct, FLASH_LATENCY_0) != HAL_OK)
  {
    Error_Handler();
  }

  RCC_OscInitStruct.PLL.PLLState = RCC_PLL_OFF;
  if (HAL_RCC_OscConfig(&RCC_OscInitStruct) != HAL_OK)
  {
    Error_Handler();
  }
  __HAL_PWR_VOLTAGESCALING_CONFIG(PWR_REGULATOR_VOLTAGE_SCALE3);

  /** Initializes the RCC Oscillators according to the specified parameters
  * in the RCC_OscInitTypeDef structure.
  */
  RCC_OscInitStruct.OscillatorType = RCC_OSCILLATORTYPE_HSI;
  RCC_OscInitStruct.HSIState = RCC_HSI_ON;
  RCC_OscInitStruct.HSICalibrationValue = RCC_HSICALIBRATION_DEFAULT;
  RCC_OscInitStruct.PLL.PLLState = RCC_PLL_ON;
  RCC_OscInitStruct.PLL.PLLSource = RCC_PLLSOURCE_HSI;
  RCC_OscInitStruct.PLL.PLLM = 8;
  RCC_OscInitStruct.PLL.PLLN = 64;
  RCC_OscInitStruct.PLL.PLLP = RCC_PLLP_DIV2;
  RCC_OscInitStruct.PLL.PLLQ = 4;
  if (HAL_RCC_OscConfig(&RCC_OscInitStruct) != HAL_OK)
  {
    Error_Handler();
  }

  /** Initializes the CPU, AHB and APB buses clocks
  */
  RCC_ClkInitStruct.ClockType = RCC_CLOCKTYPE_HCLK|RCC_CLOCKTYPE_SYSCLK
                              |RCC_CLOCKTYPE_PCLK1|RCC_CLOCKTYPE_PCLK2;
  RCC_ClkInitStruct.SYSCLKSource = RCC_SYSCLKSOURCE_PLLCLK;
  RCC_ClkInitStruct.AHBCLKDivider = RCC_SYSCLK_DIV64;
  RCC_ClkInitStruct.APB1CLKDivider = RCC_HCLK_DIV2;
  RCC_ClkInitStruct.APB2CLKDivider = RCC_HCLK_DIV1;

  if (HAL_RCC_ClockConfig(&RCC_ClkInitStruct, FLASH_LATENCY_0) != HAL_OK)
  {
    Error_Handler();
  }
}

static void MX_GPIO_Init_pull_downs(void)
{
  GPIO_InitTypeDef GPIO_InitStruct = {0};
  /* USER CODE BEGIN MX_GPIO_Init_1 */

  /* USER CODE END MX_GPIO_Init_1 */

  /* GPIO Ports Clock Enable */
  __HAL_RCC_GPIOC_CLK_ENABLE();
  __HAL_RCC_GPIOH_CLK_ENABLE();
  __HAL_RCC_GPIOA_CLK_ENABLE();
  __HAL_RCC_GPIOB_CLK_ENABLE();

  /*Configure GPIO pin Output Level */
  HAL_GPIO_WritePin(GPIOA, GPIO_PIN_5, GPIO_PIN_RESET);

  /*Configure GPIO pins : PC13 PC14 PC15 */
  GPIO_InitStruct.Pin = GPIO_PIN_13|GPIO_PIN_14|GPIO_PIN_15;
  GPIO_InitStruct.Mode = GPIO_MODE_INPUT;
  GPIO_InitStruct.Pull = GPIO_PULLDOWN;
  HAL_GPIO_Init(GPIOC, &GPIO_InitStruct);

  /*Configure GPIO pins : PA0 PA1 PA2 PA3
                           PA4 PA6 PA7 PA8
                           PA9 PA10 PA11 PA12
                           PA13 PA14 PA15 */
  GPIO_InitStruct.Pin = GPIO_PIN_0|GPIO_PIN_1|GPIO_PIN_2|GPIO_PIN_3
                          |GPIO_PIN_4|GPIO_PIN_6|GPIO_PIN_7|GPIO_PIN_8
                          |GPIO_PIN_9|GPIO_PIN_10|GPIO_PIN_11|GPIO_PIN_12
                          |GPIO_PIN_13|GPIO_PIN_14|GPIO_PIN_15;
  GPIO_InitStruct.Mode = GPIO_MODE_INPUT;
  GPIO_InitStruct.Pull = GPIO_PULLDOWN;
  HAL_GPIO_Init(GPIOA, &GPIO_InitStruct);

  /*Configure GPIO pin : PA5 */
  GPIO_InitStruct.Pin = GPIO_PIN_5;
  GPIO_InitStruct.Mode = GPIO_MODE_OUTPUT_PP;
  GPIO_InitStruct.Pull = GPIO_PULLDOWN;
  GPIO_InitStruct.Speed = GPIO_SPEED_FREQ_LOW;
  HAL_GPIO_Init(GPIOA, &GPIO_InitStruct);

  /*Configure GPIO pins : PB0 PB1 PB2 PB10
                           PB12 PB13 PB14 PB15
                           PB3 PB4 PB5 PB6
                           PB7 PB8 PB9 */
  GPIO_InitStruct.Pin = GPIO_PIN_0|GPIO_PIN_1|GPIO_PIN_2|GPIO_PIN_10
                          |GPIO_PIN_12|GPIO_PIN_13|GPIO_PIN_14|GPIO_PIN_15
                          |GPIO_PIN_3|GPIO_PIN_4|GPIO_PIN_5|GPIO_PIN_6
                          |GPIO_PIN_7|GPIO_PIN_8|GPIO_PIN_9;
  GPIO_InitStruct.Mode = GPIO_MODE_INPUT;
  GPIO_InitStruct.Pull = GPIO_PULLDOWN;
  HAL_GPIO_Init(GPIOB, &GPIO_InitStruct);

  /* USER CODE BEGIN MX_GPIO_Init_2 */

  /* USER CODE END MX_GPIO_Init_2 */
}

uint32_t compute_primes(uint32_t start, uint32_t end) {
	volatile uint32_t cpt = 0;
	uint32_t is_prime = 1;
	for (int k = start; k < end; k++) {
		is_prime = 1;
		for (int i = 2; i	< k; i++) {
			if (k%i==0) {
				is_prime = 0;
			}
		}
		if(is_prime == 1) {
			cpt += 1;
		}
	}
	return cpt;
}

uint8_t benchmark_prime(uint32_t benchmark_size) {
	volatile uint32_t cpt = compute_primes(2, benchmark_size);
	volatile uint8_t correct = 1;
	if(cpt != CORRECT_PRIME) {
		correct = 0;
	}
	return correct;
}

uint8_t benchmark_mat_mul(uint32_t benchmark_size, uint32_t nb_iteration_mat_mul) {
	uint32_t A_value = 1UL<<15;
	uint32_t B_value = 1UL<<15;
	volatile uint8_t correct = 1;
	volatile uint32_t *A = malloc(sizeof(uint32_t)*benchmark_size);
	volatile uint32_t *B = malloc(sizeof(uint32_t)*benchmark_size);
	volatile uint32_t *C = malloc(sizeof(uint32_t)*benchmark_size);
	for (int i = 0; i < benchmark_size; i++) {
		A[i] = A_value;
		B[i] = B_value;
	}
	HAL_GPIO_WritePin(GPIOA, GPIO_PIN_5, 1);
	for (int k = 0; k < nb_iteration_mat_mul; k++) {
		for (int i = 0; i < benchmark_size; i++) {
			C[i] = A[i] * B[i];
		}
	}
	HAL_GPIO_WritePin(GPIOA, GPIO_PIN_5, 0);
	// Verification
	for (int i = 0; i < benchmark_size; i++) {
		if(C[i] != CORRECT_MAT_MUL) {
			correct = 0;
		}
	}
	free((void*)A);
	free((void*)B);
	free((void*)C);
	return correct;
}

uint8_t benchmark_mat_mul_float(uint32_t benchmark_size, uint32_t nb_iteration_mat_mul) {
	float A_value = 1.23456789;
	float B_value = 1.23456789;
	volatile uint8_t correct = 1;
	volatile float *A = malloc(sizeof(float)*benchmark_size);
	volatile float *B = malloc(sizeof(float)*benchmark_size);
	volatile float *C = malloc(sizeof(float)*benchmark_size);
	for (int i = 0; i < benchmark_size; i++) {
		A[i] = A_value;
		B[i] = B_value;
	}
	HAL_GPIO_WritePin(GPIOA, GPIO_PIN_5, 1);
	for (int k = 0; k < nb_iteration_mat_mul; k++) {
		for (int i = 0; i < benchmark_size; i++) {
			C[i] = A[i] * B[i] - 1;
		}
	}
	HAL_GPIO_WritePin(GPIOA, GPIO_PIN_5, 0);
	// Verification
	for (int i = 0; i < benchmark_size; i++) {
		if(C[i] > CORRECT_MAT_MUL_FLOAT_UPPER || C[i] < CORRECT_MAT_MUL_FLOAT_LOWER) {
			correct = 0;
		}
	}
	free((void*)A);
	free((void*)B);
	free((void*)C);
	return correct;
}

uint8_t benchmark_mat_mul_double(uint32_t benchmark_size, uint32_t nb_iteration_mat_mul) {
	double A_value = 1.23456789;
	double B_value = 1.23456789;
	volatile uint8_t correct = 1;
	volatile double *A = malloc(sizeof(double)*benchmark_size);
	volatile double *B = malloc(sizeof(double)*benchmark_size);
	volatile double *C = malloc(sizeof(double)*benchmark_size);
	for (int i = 0; i < benchmark_size; i++) {
		A[i] = A_value;
		B[i] = B_value;
	}
	HAL_GPIO_WritePin(GPIOA, GPIO_PIN_5, 1);
	for (int k = 0; k < nb_iteration_mat_mul; k++) {
		for (int i = 0; i < benchmark_size; i++) {
			C[i] = A[i] * B[i] - 1;
		}
	}
	HAL_GPIO_WritePin(GPIOA, GPIO_PIN_5, 0);
	HAL_Delay(100);
	// Verification
	for (int i = 0; i < benchmark_size; i++) {
		if(C[i] > CORRECT_MAT_MUL_FLOAT_UPPER || C[i] < CORRECT_MAT_MUL_FLOAT_LOWER) {
			correct = 0;
		}
	}
	free((void*)A);
	free((void*)B);
	free((void*)C);
	return correct;
}

void run_benchmarks() {
	HAL_Delay(5000);

	// prime
	HAL_GPIO_WritePin(GPIOA, GPIO_PIN_5, 1);
	uint32_t res_prime = benchmark_prime(BENCH_PRIME_SIZE);
	HAL_GPIO_WritePin(GPIOA, GPIO_PIN_5, 0);
	HAL_Delay(100);

	// mat mul
	uint32_t res_mat_mul = benchmark_mat_mul(BENCH_MAT_SIZE, NB_ITERATIONS_MAT_MUL);

	// mat mul float
	uint32_t res_mat_mul_float = benchmark_mat_mul_float(BENCH_MAT_SIZE, NB_ITERATIONS_MAT_MUL);

	// mat mul double
	uint32_t res_mat_mul_double = benchmark_mat_mul_double(BENCH_MAT_SIZE/2, NB_ITERATIONS_MAT_MUL);
	return;
}

/* USER CODE END 0 */

int main(void)
{

  /* MCU Configuration--------------------------------------------------------*/

  /* Reset of all peripherals, Initializes the Flash interface and the Systick. */
  HAL_Init();

  /* USER CODE BEGIN Init */
  MX_GPIO_Init_pull_downs();
  /* USER CODE END Init */

	HAL_Delay(20000);

  /* USER CODE BEGIN SysInit */
	// Baseline
  SystemClock_Config_HSI_16MHz();
	run_benchmarks();
	HAL_Delay(1000);
  SystemClock_Config_HSE_25MHz();
	run_benchmarks();
	HAL_Delay(1000);
  SystemClock_Config_PLL_64MHz_default();
	run_benchmarks();
	HAL_Delay(1000);

	// Minimum freq
  //SystemClock_Config_HSI_31250Hz();
	//run_benchmarks();
	//HAL_Delay(1000);
  //SystemClock_Config_PLL_46875Hz_default();
	//run_benchmarks();
	//HAL_Delay(1000);
  SystemClock_Config_HSI_1MHz();
	run_benchmarks();
	HAL_Delay(1000);
  SystemClock_Config_HSE_156250000Hz();
	run_benchmarks();
	HAL_Delay(1000);
  SystemClock_Config_PLL_1MHz();
	run_benchmarks();
	HAL_Delay(1000);

	// Minimum vreg
  SystemClock_Config_PLL_64MHz_minvreg();
	run_benchmarks();
	HAL_Delay(1000);

	// Minimum vreg, minimum freq
  //SystemClock_Config_PLL_46875Hz_minvreg();
	//run_benchmarks();
	//HAL_Delay(1000);
  SystemClock_Config_PLL_1MHz_minvreg();
	run_benchmarks();
	HAL_Delay(1000);

	NVIC_SystemReset();
  /* USER CODE END SysInit */

  /* Initialize all configured peripherals */

  /* Infinite loop */

}

void Error_Handler(void)
{
  __disable_irq();
  while (1)
  {
  }
}
